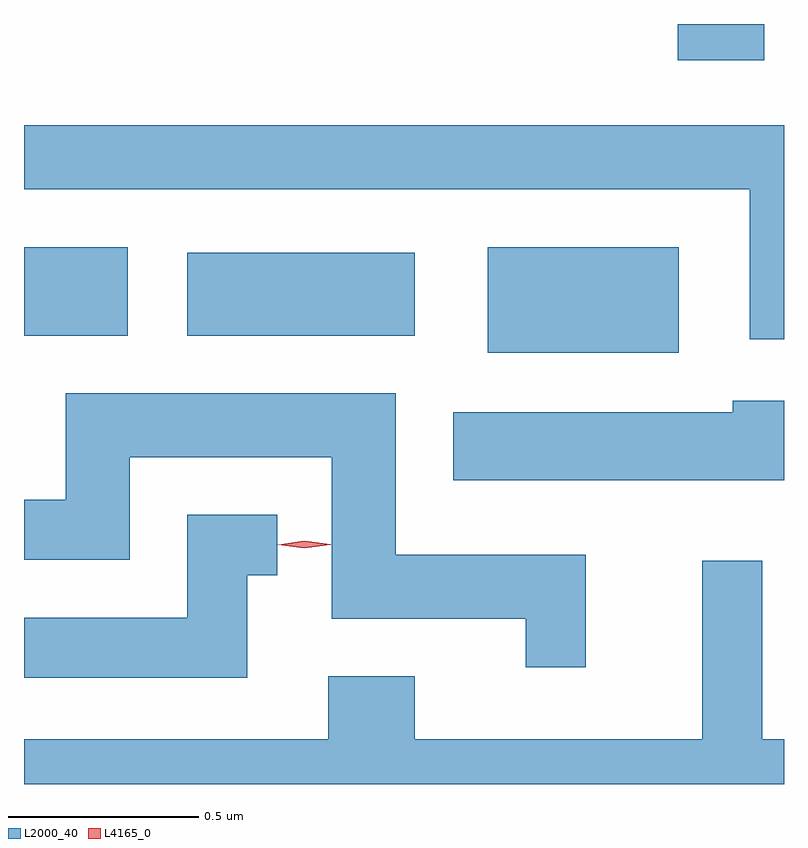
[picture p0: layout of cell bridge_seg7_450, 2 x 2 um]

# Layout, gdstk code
import gdstk
lib = gdstk.Library(unit=1e-6, precision=1e-09)
def R(c, l, rs):  # rectangles x0, y0, x1, y1
    for r in rs: c.add(gdstk.rectangle(r[:2], r[2:], *l))
def P(c, l, *ps):  # polygons
    for p in ps: c.add(gdstk.Polygon(p, *l))
L2000_40 = (2000, 40)
L4165_0 = (4165, 0)

bridge_seg7_450 = lib.new_cell('bridge_seg7_450')
R(bridge_seg7_450, L2000_40, [(1229.161,1693.401,1229.664,1693.679), (1227.941,1693.446,1228.214,1693.679), (1228.371,1693.446,1228.969,1693.664), (1229.661,1694.171,1229.889,1694.266)])
P(bridge_seg7_450, L2000_40, [(1229.941,1693.999),(1227.941,1693.999),(1227.941,1693.831),(1229.851,1693.831),(1229.851,1693.436),(1229.941,1693.436)],
  [(1229.419,1692.869),(1228.919,1692.869),(1228.919,1693.294),(1228.051,1693.294),(1228.051,1693.014),(1227.941,1693.014),(1227.941,1692.856),(1228.219,1692.856),(1228.219,1693.126),(1228.751,1693.126),(1228.751,1692.701),(1229.261,1692.701),(1229.261,1692.573),(1229.419,1692.573)],
  [(1229.941,1693.274),(1229.806,1693.274),(1229.806,1693.244),(1229.071,1693.244),(1229.071,1693.066),(1229.941,1693.066)],
  [(1228.529,1692.816),(1228.608,1692.816),(1228.608,1692.974),(1228.371,1692.974),(1228.371,1692.704),(1227.941,1692.704),(1227.941,1692.546),(1228.529,1692.546)],
  [(1229.941,1692.384),(1229.884,1692.384),(1229.884,1692.853),(1229.726,1692.853),(1229.726,1692.384),(1228.969,1692.384),(1228.969,1692.549),(1228.741,1692.549),(1228.741,1692.384),(1227.941,1692.384),(1227.941,1692.266),(1229.941,1692.266)])
P(bridge_seg7_450, L4165_0, [(1228.678,1692.886),(1228.609,1692.895),(1228.609,1692.896),(1228.609,1692.896),(1228.678,1692.906),(1228.748,1692.897),(1228.748,1692.896),(1228.748,1692.896)])

lib.write_gds('bridge_seg7_450.gds')
